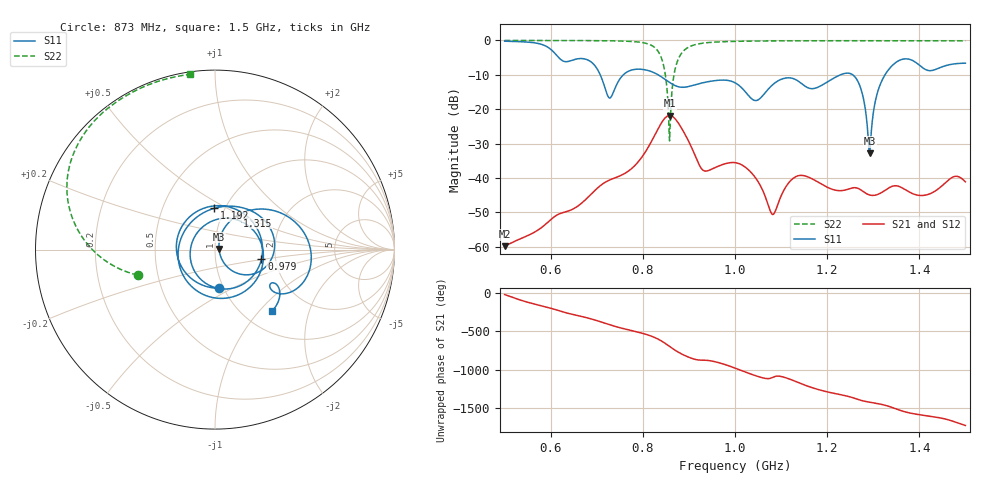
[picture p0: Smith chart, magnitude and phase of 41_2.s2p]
! TOUCHSTONE file generated by CST MICROWAVE STUDIO
! Date and time: Mon Nov 30 09:13:37 2020
! Project name: Scenario_1_Planar_Body_Tissue_Out_of_Line_v2.cst
! Parameters = {dy1=346; L_HA=400; Ltissue=700; MT=2.54; Rad_Dielectric=30; Rad_Lower=7.3; Rad_Upper=30; Wtissue=700; a_HA=580; a_WG=246; b_HA=500; b_WG=121; c_HA=0; c_WG=187; d_feed=85; dx1=346; h_feed=15; h_lower=18; h_upper=40; hfat=3; hgap=25; hmuscle=50; hskin=1.5}
! Header version: 2018
! Port assignment regex: !\s*Touchstone port\s*([0-9]+)\s*=\s*(CST MWS port|CST DS port)\s*([0-9]+|Zmin|Zmax)\s*\(\"(.*)\"\)(\s*mode\s*([0-9]+))?.*
! Touchstone port assignment:
! Touchstone port 1 = CST MWS port 1 ("")
! Touchstone port 2 = CST MWS port 2 ("")
# GHz S DB R 50
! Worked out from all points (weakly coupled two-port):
!   1003 points, 500 MHz to 1.5 GHz, reference 50 ohm
!   highest |S21| = -21.84 dB at 858 MHz (marker M1); lowest = -59.9 dB at 500 MHz (marker M2)
!   lowest |S11| = -32.9 dB at 1.292 GHz (marker M3), VSWR 1.05, Z = 52.3 + j0.345 ohm
!   |S11| at or under -10 dB: 707.5 MHz to 757.7 MHz (50.15 MHz wide, 6.85 % of centre); 833.1 MHz to 1.229 GHz (395.6 MHz wide, 38.4 % of centre); 1.255 GHz to 1.326 GHz (70.15 MHz wide, 5.44 % of centre)
!   |S22| runs from -29.2 to 0.0 dB; largest |S21 - S12| = 8.3e-06
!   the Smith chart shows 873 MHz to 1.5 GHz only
!   S11 on the Smith chart (normalised r, x): 873 MHz: 0.95, -0.43; 979 MHz: 1.69, -0.19; 1.192 GHz: 0.89, +0.43; 1.315 GHz: 1.18, +0.47; 1.5 GHz: 1.33, -1.17
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0.5  -0.22 -121.7  -59.86 -18.3  -59.86 -18.3  -0.01 151.2
0.577  -1.02 -164.2  -54.74 -160.7  -54.74 -160.7  -0.02 145.9
0.667  -5.27 151.1  -47.35 55.5  -47.35 55.5  -0.04 138.4
0.697  -7.53 99.8  -43.51 7.1  -43.51 7.1  -0.06 135.2
0.728  -16.77 -36.7  -40.60 -53.2  -40.60 -53.2  -0.11 131.2
0.773  -8.73 165.5  -37.57 -125.6  -37.57 -125.6  -0.28 122.4
0.834  -10.07 36.2  -25.48 116.5  -25.48 116.5  -3.35 83.5
0.858  -12.22 -33.7  -21.84 23.8  -21.84 23.8  -29.24 -54.6
0.873  -13.30 -84.1  -23.28 -37.1  -23.28 -37.1  -6.86 -161.8
0.93  -12.32 95.9  -37.68 -155.7  -37.68 -155.7  -0.80 154.6
0.979  -11.56 -11.4  -35.86 145.7  -35.86 145.7  -0.35 143.4
1  -12.31 -58.6  -35.56 100.9  -35.56 100.9  -0.27 140.3
1.038  -17.17 -175.4  -38.87 14.9  -38.87 14.9  -0.18 135.7
1.082  -12.86 36.5  -50.64 -19.9  -50.64 -19.9  -0.13 131.4
1.129  -11.23 -82.1  -39.86 -67.4  -39.85 -67.4  -0.11 127.3
1.167  -14.04 152.6  -40.24 -154.3  -40.24 -154.3  -0.10 124.2
1.192  -12.76 91.0  -42.13 161.9  -42.13 162.0  -0.09 122.3
1.26  -10.56 -19.5  -42.83 65.1  -42.83 65.1  -0.08 117.1
1.292  -32.86 8.3  -44.96 15.1  -44.96 15.1  -0.08 114.7
1.315  -12.89 56.7  -44.49 -9.5  -44.49 -9.5  -0.08 113.0
1.334  -8.37 35.4  -42.89 -39.5  -42.89 -39.5  -0.09 111.5
1.5  -6.62 -47.5  -41.14 71.1  -41.14 71.1  -0.13 98.0
